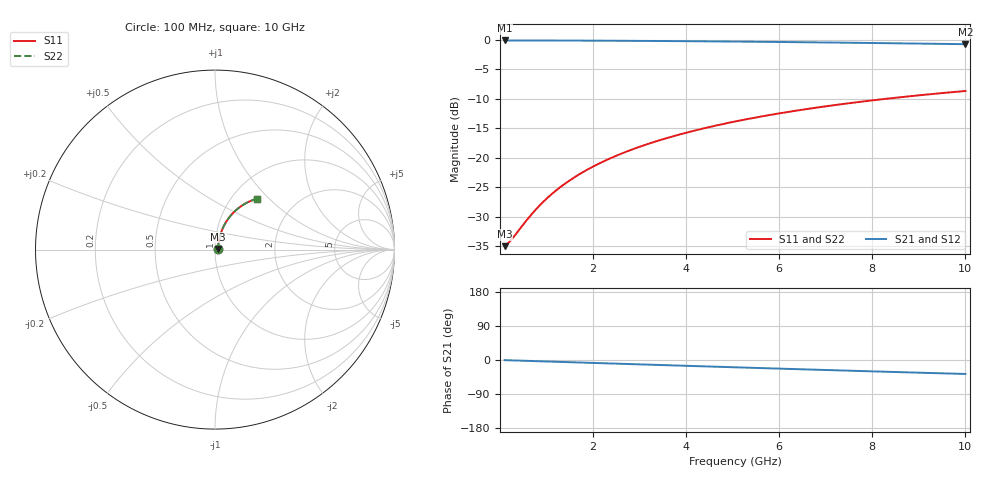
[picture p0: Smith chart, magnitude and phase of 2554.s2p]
# Hz S RI R 50.00
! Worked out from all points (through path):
!   100 points, 100 MHz to 10 GHz, reference 50 ohm
!   highest |S21| = -0.15 dB at 100 MHz (marker M1); lowest = -0.8 dB at 10 GHz (marker M2)
!   group delay of S21, straight-line fit = 10.3 ps
!   lowest |S11| = -35.0 dB at 100 MHz (marker M3), VSWR 1.04, Z = 51.8 + j0.414 ohm
!   |S11| at or under -10 dB: start of sweep to 8.344 GHz
!   |S22| runs from -35.0 to -8.7 dB; largest |S21 - S12| = 0
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1e8  0.0173 0.004  0.9827 -0.00662  0.9827 -0.00662  0.0173 0.004
2e8  0.0175 0.008  0.9825 -0.0132  0.9825 -0.0132  0.0175 0.008
3e8  0.0177 0.012  0.9823 -0.0199  0.9823 -0.0199  0.0177 0.012
5e8  0.0182 0.02  0.9817 -0.0331  0.9817 -0.0331  0.0182 0.02
7e8  0.019 0.0279  0.9808 -0.0463  0.9808 -0.0463  0.019 0.0279
8e8  0.0194 0.0319  0.9803 -0.0529  0.9803 -0.0529  0.0194 0.0319
1e9  0.0205 0.0398  0.9792 -0.066  0.9792 -0.066  0.0205 0.0398
1.2e9  0.0217 0.0477  0.9778 -0.0792  0.9778 -0.0792  0.0217 0.0477
1.4e9  0.0232 0.0555  0.9761 -0.0922  0.9761 -0.0922  0.0232 0.0555
1.6e9  0.0248 0.0633  0.9743 -0.1053  0.9743 -0.1053  0.0248 0.0633
1.8e9  0.0267 0.0711  0.9722 -0.1183  0.9722 -0.1183  0.0267 0.0711
2.1e9  0.0298 0.0825  0.9686 -0.1376  0.9686 -0.1376  0.0298 0.0825
2.5e9  0.0348 0.0976  0.963 -0.1632  0.963 -0.1632  0.0348 0.0976
2.9e9  0.0404 0.1123  0.9566 -0.1884  0.9566 -0.1884  0.0404 0.1123
3.4e9  0.0486 0.1302  0.9473 -0.2195  0.9473 -0.2195  0.0486 0.1302
4.2e9  0.064 0.1574  0.9298 -0.2678  0.9298 -0.2678  0.064 0.1574
5.1e9  0.0843 0.1856  0.9065 -0.3197  0.9065 -0.3197  0.0843 0.1856
5.9e9  0.1048 0.2082  0.8828 -0.3635  0.8828 -0.3635  0.1048 0.2082
6.7e9  0.1272 0.2284  0.8568 -0.4049  0.8568 -0.4049  0.1272 0.2284
7.5e9  0.1512 0.2459  0.8287 -0.4438  0.8287 -0.4438  0.1512 0.2459
8.4e9  0.1797 0.2624  0.795 -0.4843  0.795 -0.4843  0.1797 0.2624
1e10  0.2327 0.2831  0.731 -0.5481  0.731 -0.5481  0.2327 0.2831
